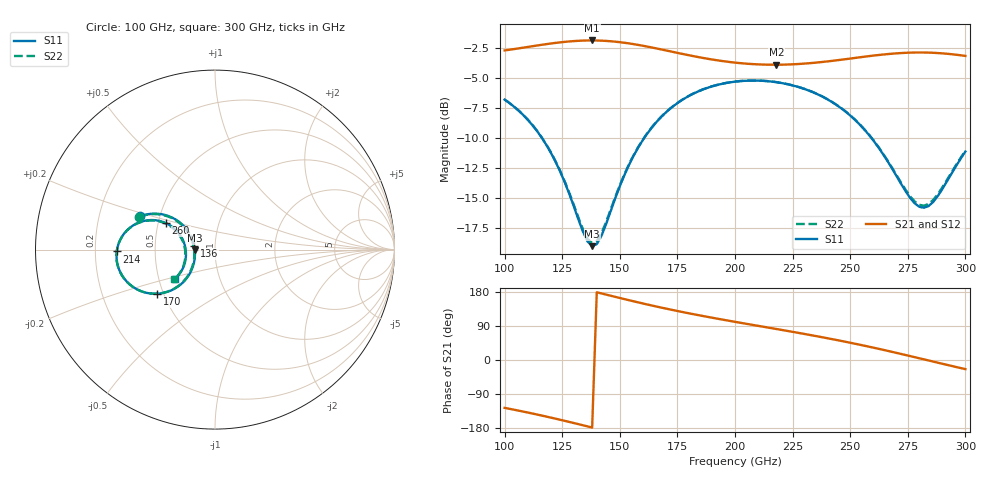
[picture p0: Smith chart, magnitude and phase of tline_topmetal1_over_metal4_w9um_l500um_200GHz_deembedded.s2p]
! Created with skrf 2.2.0 (http://scikit-rf.org).
# GHz S DB R 50.0
! Port[1] = P1
! Port[2] = P2
!freq dBS11 angS11 dBS21 angS21 dBS12 angS12 dBS22 angS22
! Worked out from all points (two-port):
!   101 points, 100 GHz to 300 GHz, reference 50 ohm
!   highest |S21| = -1.84 dB at 138 GHz (marker M1); lowest = -3.9 dB at 218 GHz (marker M2)
!   |S21| within 3 dB of the highest: start of sweep to end of sweep
!   lowest |S11| = -19.0 dB at 138 GHz (marker M3), VSWR 1.25, Z = 39.9 - j0.241 ohm
!   |S11| at or under -10 dB: 116.3 GHz to 160.5 GHz (44.18 GHz wide, 31.9 % of centre); 259.3 GHz to end of sweep
!   |S22| runs from -18.7 to -5.2 dB; largest |S21 - S12| = 9e-14
!   S11 on the Smith chart (normalised r, x): 100 GHz: 0.39, +0.18; 136 GHz: 0.79, +0.03; 170 GHz: 0.46, -0.27; 214 GHz: 0.29, -0.01; 260 GHz: 0.55, +0.18; 300 GHz: 0.60, -0.22
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100  -6.77 156.3  -2.68 -126.3  -2.68 -126.3  -6.76 156.7
118  -10.51 143.3  -2.15 -149.2  -2.15 -149.2  -10.47 143.9
126  -13.60 143.4  -1.96 -160.4  -1.96 -160.4  -13.54 144.3
134  -17.76 160.3  -1.86 -172.2  -1.86 -172.2  -17.57 161.2
136  -18.58 169.9  -1.85 -175.2  -1.85 -175.2  -18.35 170.6
138  -18.98 -178.5  -1.84 -178.3  -1.84 -178.3  -18.72 -178.2
142  -18.14 -155.9  -1.86 175.7  -1.86 175.7  -17.92 -156.4
152  -13.05 -134.7  -2.04 160.7  -2.04 160.7  -12.98 -135.3
168  -8.21 -141.1  -2.59 138.3  -2.59 138.3  -8.19 -141.3
170  -7.84 -142.7  -2.67 135.7  -2.67 135.7  -7.82 -142.9
184  -6.09 -154.4  -3.23 118.5  -3.23 118.5  -6.08 -154.5
200  -5.28 -167.8  -3.69 100.7  -3.69 100.7  -5.27 -167.7
214  -5.23 -178.9  -3.86 86.0  -3.86 86.0  -5.23 -178.8
218  -5.32 178.0  -3.87 81.7  -3.87 81.7  -5.31 178.2
234  -6.17 165.9  -3.71 64.4  -3.71 64.4  -6.16 166.2
248  -7.77 156.4  -3.40 48.0  -3.40 48.0  -7.75 156.9
260  -10.16 151.6  -3.11 32.7  -3.11 32.7  -10.13 152.2
268  -12.46 153.8  -2.95 21.7  -2.95 21.7  -12.39 154.5
276  -14.95 166.5  -2.86 10.4  -2.86 10.4  -14.82 167.2
282  -15.78 -174.9  -2.85 1.7  -2.85 1.7  -15.60 -174.6
288  -14.80 -156.9  -2.89 -7.0  -2.89 -7.0  -14.65 -157.1
300  -11.10 -143.6  -3.13 -24.1  -3.13 -24.1  -11.03 -143.8
